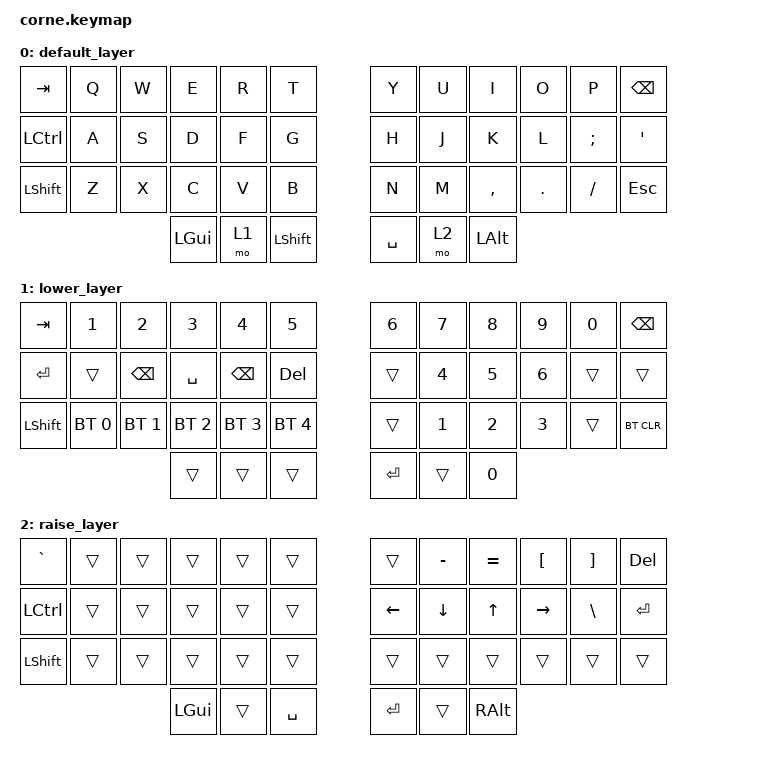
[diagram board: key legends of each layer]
/*
 * Copyright (c) 2020 The ZMK Contributors
 *
 * SPDX-License-Identifier: MIT
 */

#include <behaviors.dtsi>
#include <dt-bindings/zmk/keys.h>
#include <dt-bindings/zmk/bt.h>

/ {
        keymap {
                compatible = "zmk,keymap";

                default_layer {
// -----------------------------------------------------------------------------------------
// |  TAB |  Q  |  W  |  E  |  R  |  T   |   |  Y  |  U  |  I  |  O  |  P  | BKSP |
// | CTRL |  A  |  S  |  D  |  F  |  G   |   |  H  |  J  |  K  |  L  |  ;  |  '   |
// | SHFT |  Z  |  X  |  C  |  V  |  B   |   |  N  |  M  |  ,  |  .  |  /  | ESC  |
//                    | GUI | LWR | SHFT |   | SPC | RSE | ALT |
                        bindings = <
   &kp TAB   &kp Q &kp W &kp E &kp R &kp T   &kp Y     &kp U &kp I     &kp O   &kp P    &kp BSPC
   &kp LCTRL &kp A &kp S &kp D &kp F &kp G   &kp H     &kp J &kp K     &kp L   &kp SEMI &kp SQT
   &kp LSHFT &kp Z &kp X &kp C &kp V &kp B   &kp N     &kp M &kp COMMA &kp DOT &kp FSLH &kp ESC
                  &kp LGUI &mo 1 &kp LSHFT   &kp SPACE &mo 2 &kp LALT
                        >;
                };

                lower_layer {
// -----------------------------------------------------------------------------------------
// |  TAB |  1  |  2   |  3  |  4   |  5  |   |  6  |  7  |  8  |  9  |  0  | BKSP  |
// |  ENT |     | BKSP | SPC | BKSP | DEL |   |     |  4  |  5  |  6  |     |       |
// | SHFT | BT1 | BT2  | BT3 | BT4  | BT5 |   |     |  1  |  2  |  3  |     | BTCLR |
//                     |     |      |     |   | ENT |     |  0  |
                        bindings = <
   &kp TAB   &kp N1       &kp N2       &kp N3       &kp N4       &kp N5        &kp N6  &kp N7 &kp N8 &kp N9 &kp N0 &kp BSPC
   &kp RET   &trans       &kp BSPC     &kp SPACE    &kp BSPC     &kp DELETE    &trans  &kp N4 &kp N5 &kp N6 &trans &trans
   &kp LSHFT &bt BT_SEL 0 &bt BT_SEL 1 &bt BT_SEL 2 &bt BT_SEL 3 &bt BT_SEL 4  &trans  &kp N1 &kp N2 &kp N3 &trans &bt BT_CLR
                                       &trans       &trans       &trans        &kp RET &trans &kp N0
                        >;
                };

                raise_layer {
// -----------------------------------------------------------------------------------------
// |  `   |     |     |     |     |     |   |     |  -  |  =  |  [  |  ]  | DEL |
// | CTRL |     |     |     |     |     |   | LFT | DWN |  UP | RGT |  \  | ENT |
// | SHFT |     |     |     |     |     |   |     |     |     |     |     |     |
//                    | GUI |     | SPC |   | ENT |     | ALT |
                        bindings = <
   &kp GRAVE &trans &trans &trans &trans &trans  &trans   &kp MINUS &kp EQUAL &kp LBKT  &kp RBKT &kp DELETE
   &kp LCTRL &trans &trans &trans &trans &trans  &kp LEFT &kp DOWN  &kp UP    &kp RIGHT &kp BSLH &kp RET
   &kp LSHFT &trans &trans &trans &trans &trans  &trans   &trans    &trans    &trans    &trans   &trans
                      &kp LGUI &trans &kp SPACE  &kp RET  &trans    &kp RALT
                        >;
                };
        };
};
